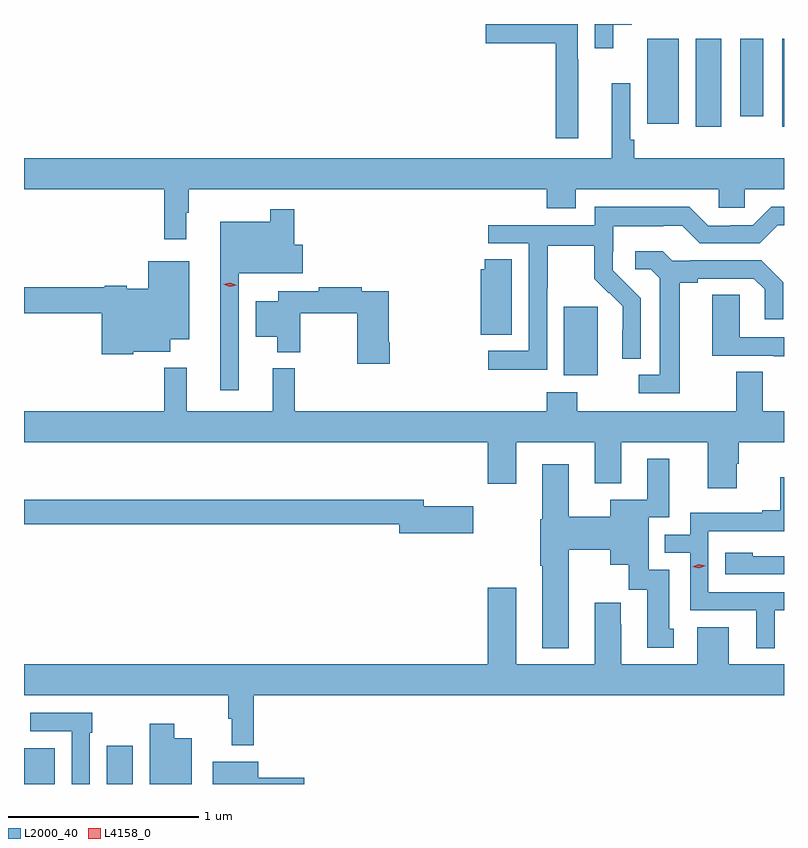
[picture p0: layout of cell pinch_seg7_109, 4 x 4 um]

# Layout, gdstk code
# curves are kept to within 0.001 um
import gdstk
lib = gdstk.Library(unit=1e-6, precision=1e-09)
def R(c, l, rs):  # rectangles x0, y0, x1, y1
    for r in rs: c.add(gdstk.rectangle(r[:2], r[2:], *l))
def P(c, l, *ps):  # polygons
    for p in ps: c.add(gdstk.Polygon(p, *l))
L2000_40 = (2000, 40)
L4158_0 = (4158, 0)

pinch_seg7_109 = lib.new_cell('pinch_seg7_109')
R(pinch_seg7_109, L2000_40, [(923.497,1001.482,923.659,1001.671), (923.933,1001.482,924.07,1001.683), (926.339,1003.634,926.518,1003.995), (927.032,1004.94,927.166,1005.404), (927.488,1004.94,927.497,1005.404), (926.777,1004.958,926.944,1005.404), (927.266,1004.997,927.388,1005.404)])
P(pinch_seg7_109, L2000_40, [(926.414,1005.296),(926.412,1005.296),(926.412,1005.482),(925.926,1005.482),(925.926,1005.38),(926.296,1005.38),(926.296,1004.88),(926.414,1004.88)],
  [(926.599,1005.477),(926.695,1005.477),(926.695,1005.482),(926.502,1005.482),(926.502,1005.354),(926.599,1005.354)],
  [(924.352,1004.489),(924.364,1004.489),(924.364,1004.612),(926.249,1004.612),(926.249,1004.513),(926.401,1004.513),(926.401,1004.612),(927.153,1004.612),(927.153,1004.514),(927.291,1004.514),(927.291,1004.612),(927.497,1004.612),(927.497,1004.776),(926.708,1004.776),(926.708,1004.872),(926.688,1004.872),(926.688,1005.169),(926.591,1005.169),(926.591,1004.776),(923.497,1004.776),(923.497,1004.612),(924.235,1004.612),(924.235,1004.349),(924.352,1004.349)],
  [(926.25,1004.092),(926.253,1004.092),(926.253,1004.316),(926.497,1004.316),(926.497,1004.141),(926.574,1004.064),(926.577,1004.067),(926.648,1003.997),(926.648,1003.874),(926.646,1003.874),(926.646,1003.72),(926.742,1003.72),(926.742,1004.038),(926.596,1004.186),(926.596,1004.283),(926.598,1004.283),(926.598,1004.417),(926.861,1004.417),(926.861,1004.421),(926.961,1004.421),(927.054,1004.328),(927.369,1004.328),(927.465,1004.424),(927.497,1004.424),(927.497,1004.52),(927.429,1004.52),(927.333,1004.424),(927.215,1004.424),(927.215,1004.421),(927.099,1004.421),(926.999,1004.521),(926.502,1004.521),(926.502,1004.424),(925.941,1004.424),(925.941,1004.328),(926.154,1004.328),(926.154,1003.761),(925.941,1003.761),(925.941,1003.663),(926.25,1003.663)],
  [(924.627,1004.171),(924.964,1004.171),(924.964,1004.319),(924.92,1004.319),(924.92,1004.506),(924.792,1004.506),(924.792,1004.44),(924.53,1004.44),(924.53,1003.554),(924.627,1003.554)],
  [(926.947,1004.12),(927.043,1004.12),(927.043,1004.142),(927.338,1004.142),(927.395,1004.085),(927.395,1003.929),(927.492,1003.929),(927.492,1004.122),(927.376,1004.238),(927.004,1004.238),(927.004,1004.235),(926.91,1004.235),(926.858,1004.287),(926.715,1004.287),(926.715,1004.19),(926.796,1004.19),(926.843,1004.143),(926.843,1003.635),(926.733,1003.635),(926.733,1003.539),(926.947,1003.539)],
  [(926.065,1004.243),(925.922,1004.243),(925.922,1004.19),(925.9,1004.19),(925.9,1003.846),(926.065,1003.846)],
  [(924.072,1003.757),(924.268,1003.757),(924.268,1003.823),(924.367,1003.823),(924.367,1004.233),(924.152,1004.233),(924.152,1004.089),(924.039,1004.089),(924.039,1004.104),(923.922,1004.104),(923.922,1004.096),(923.497,1004.096),(923.497,1003.96),(923.906,1003.96),(923.906,1003.745),(924.072,1003.745)],
  [(925.421,1003.807),(925.416,1003.807),(925.416,1004.076),(925.274,1004.076),(925.274,1004.096),(925.048,1004.096),(925.048,1004.076),(924.836,1004.076),(924.836,1004.023),(924.716,1004.023),(924.716,1003.835),(924.83,1003.835),(924.83,1003.754),(924.952,1003.754),(924.952,1003.96),(925.25,1003.96),(925.25,1003.695),(925.421,1003.695)],
  [(927.497,1003.833),(927.264,1003.833),(927.264,1004.057),(927.119,1004.057),(927.119,1003.737),(927.443,1003.737),(927.443,1003.733),(927.497,1003.733)],
  [(927.247,1003.167),(927.26,1003.167),(927.26,1003.28),(927.497,1003.28),(927.497,1003.444),(927.385,1003.444),(927.385,1003.652),(927.245,1003.652),(927.245,1003.444),(926.409,1003.444),(926.409,1003.543),(926.249,1003.543),(926.249,1003.444),(924.923,1003.444),(924.923,1003.669),(924.806,1003.669),(924.806,1003.444),(924.353,1003.444),(924.353,1003.672),(924.235,1003.672),(924.235,1003.444),(923.497,1003.444),(923.497,1003.28),(925.937,1003.28),(925.937,1003.062),(926.089,1003.062),(926.089,1003.28),(926.501,1003.28),(926.501,1003.064),(926.641,1003.064),(926.641,1003.28),(927.095,1003.28),(927.095,1003.038),(927.247,1003.038)],
  [(926.365,1002.716),(926.582,1002.716),(926.582,1002.635),(926.681,1002.635),(926.681,1002.504),(926.777,1002.504),(926.777,1002.198),(926.917,1002.198),(926.917,1002.3),(926.893,1002.3),(926.893,1002.609),(926.784,1002.609),(926.784,1002.885),(926.893,1002.885),(926.893,1003.195),(926.777,1003.195),(926.777,1002.979),(926.582,1002.979),(926.582,1002.888),(926.365,1002.888),(926.365,1003.165),(926.225,1003.165),(926.225,1002.876),(926.213,1002.876),(926.213,1002.632),(926.225,1002.632),(926.225,1002.197),(926.365,1002.197)],
  [(927.448,1002.396),(927.497,1002.396),(927.497,1002.492),(927.099,1002.492),(927.099,1002.813),(927.497,1002.813),(927.497,1003.097),(927.478,1003.097),(927.478,1002.922),(927.383,1002.922),(927.383,1002.909),(927.003,1002.909),(927.003,1002.795),(926.87,1002.795),(926.87,1002.699),(927.003,1002.699),(927.003,1002.396),(927.35,1002.396),(927.35,1002.197),(927.448,1002.197)],
  [(925.861,1002.945),(925.6,1002.945),(925.6,1002.979),(923.497,1002.979),(923.497,1002.85),(925.472,1002.85),(925.472,1002.803),(925.861,1002.803)],
  [(927.497,1002.682),(927.333,1002.682),(927.333,1002.7),(927.189,1002.7),(927.189,1002.585),(927.497,1002.585)],
  [(924.707,1001.948),(927.497,1001.948),(927.497,1002.112),(927.205,1002.112),(927.205,1002.307),(927.041,1002.307),(927.041,1002.112),(926.641,1002.112),(926.641,1002.323),(926.638,1002.323),(926.638,1002.436),(926.501,1002.436),(926.501,1002.112),(926.089,1002.112),(926.089,1002.514),(925.937,1002.514),(925.937,1002.112),(923.497,1002.112),(923.497,1001.948),(924.571,1001.948),(924.571,1001.825),(924.59,1001.825),(924.59,1001.685),(924.707,1001.685)],
  [(923.844,1001.753),(923.857,1001.753),(923.857,1001.856),(923.529,1001.856),(923.529,1001.76),(923.748,1001.76),(923.748,1001.482),(923.844,1001.482)],
  [(924.379,1001.722),(924.288,1001.722),(924.288,1001.8),(924.158,1001.8),(924.158,1001.482),(924.379,1001.482)],
  [(924.973,1001.514),(924.73,1001.514),(924.73,1001.599),(924.491,1001.599),(924.491,1001.482),(924.973,1001.482)])
P(pinch_seg7_109, L4158_0, [(927.05,1002.618),(927.015,1002.625),(927.014,1002.625),(927.015,1002.626),(927.048,1002.638),(927.083,1002.631),(927.084,1002.631),(927.083,1002.63)],
  [(924.581,1004.1),(924.546,1004.112),(924.546,1004.112),(924.546,1004.112),(924.582,1004.12),(924.616,1004.108),(924.616,1004.108),(924.616,1004.108)])

lib.write_gds('pinch_seg7_109.gds')
